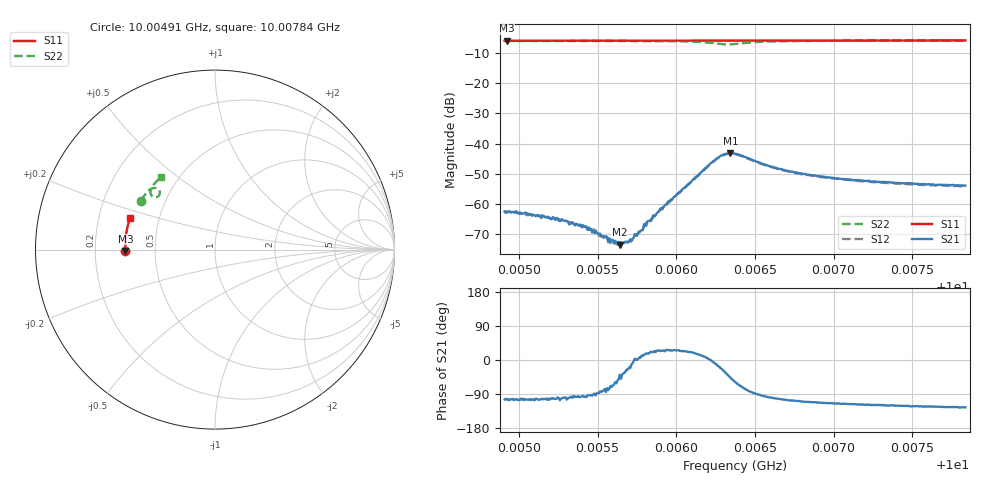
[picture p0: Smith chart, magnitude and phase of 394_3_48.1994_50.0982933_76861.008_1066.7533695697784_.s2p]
#  HZ  S  RI  R  50.00
! Rohde & Schwarz Vector Network Analyzer
! Rohde-Schwarz,ZNB20-2Port,1311601062101988,3.16
! Created: UTC 3/20/2024, 11:53:45 AM
! freq[Hz]  re:S11  im:S11  re:S21  im:S21  re:S12  im:S12  re:S22  im:S22
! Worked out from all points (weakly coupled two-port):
!   401 points, 10.00491 GHz to 10.00784 GHz, reference 50 ohm
!   highest |S21| = -43.18 dB at 10.00634 GHz (marker M1); lowest = -73.5 dB at 10.00564 GHz (marker M2)
!   lowest |S11| = -6.0 dB at 10.00492 GHz (marker M3), VSWR 2.99, Z = 16.7 - j0.327 ohm
!   |S11| at or under -10 dB: nowhere
!   |S22| runs from -7.3 to -6.0 dB; largest |S21 - S12| = 0.00041
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1.0004909e10  -0.4993 -0.00818  -0.000188 -0.000734  -0.00015 -0.00073  -0.4125 0.272
1.0004923e10  -0.4993 -0.00735  -0.000192 -0.000729  -0.000141 -0.000707  -0.412 0.2729
1.0005048e10  -0.4997 0.00101  -0.000174 -0.000684  -9.99e-05 -0.000654  -0.4076 0.2804
1.0005253e10  -0.5 0.0142  -0.000102 -0.000545  -0.000102 -0.000519  -0.3997 0.2924
1.0005399e10  -0.4998 0.0237  -4.43e-05 -0.000411  -1.64e-05 -0.000432  -0.3936 0.3012
1.0005487e10  -0.4997 0.0294  -2.01e-05 -0.000339  1.72e-05 -0.000369  -0.3896 0.3065
1.0005524e10  -0.4996 0.0318  3.3e-05 -0.000296  6.73e-05 -0.000281  -0.3879 0.3086
1.0005546e10  -0.4996 0.0332  6.48e-05 -0.000276  3.98e-05 -0.00029  -0.3868 0.3101
1.0005582e10  -0.4996 0.0355  9.01e-05 -0.000225  7.85e-05 -0.000211  -0.385 0.3123
1.0005641e10  -0.4994 0.0393  0.000165 -0.000134  0.000146 -0.000139  -0.3821 0.3161
1.0005685e10  -0.4992 0.0423  0.000215 -0.000101  0.000212 -0.000104  -0.3796 0.3187
1.0005714e10  -0.4991 0.0441  0.000245 -5.28e-05  0.000239 -1.9e-05  -0.3779 0.3205
1.000589e10  -0.4982 0.0555  0.000692 0.000331  0.000674 0.000345  -0.3659 0.3318
1.0006242e10  -0.4955 0.0781  0.00521 -0.000668  0.00515 -0.000368  -0.3111 0.33
1.0006293e10  -0.495 0.0811  0.00584 -0.00275  0.00582 -0.00243  -0.3081 0.3108
1.0006344e10  -0.4945 0.0843  0.00475 -0.00505  0.00493 -0.00468  -0.3208 0.2942
1.0006373e10  -0.4944 0.0859  0.00361 -0.00576  0.00385 -0.00546  -0.332 0.2914
1.0006637e10  -0.4921 0.1029  -0.000785 -0.00384  -0.000625 -0.00381  -0.3585 0.3319
1.0006864e10  -0.4894 0.1174  -0.0011 -0.00278  -0.00094 -0.00279  -0.3484 0.353
1.000712e10  -0.4859 0.1333  -0.00112 -0.00224  -0.00102 -0.00222  -0.3357 0.3695
1.0007355e10  -0.482 0.1481  -0.00114 -0.00197  -0.00102 -0.00197  -0.3239 0.3822
1.0007838e10  -0.473 0.1779  -0.00116 -0.00166  -0.00103 -0.00166  -0.2993 0.4047
